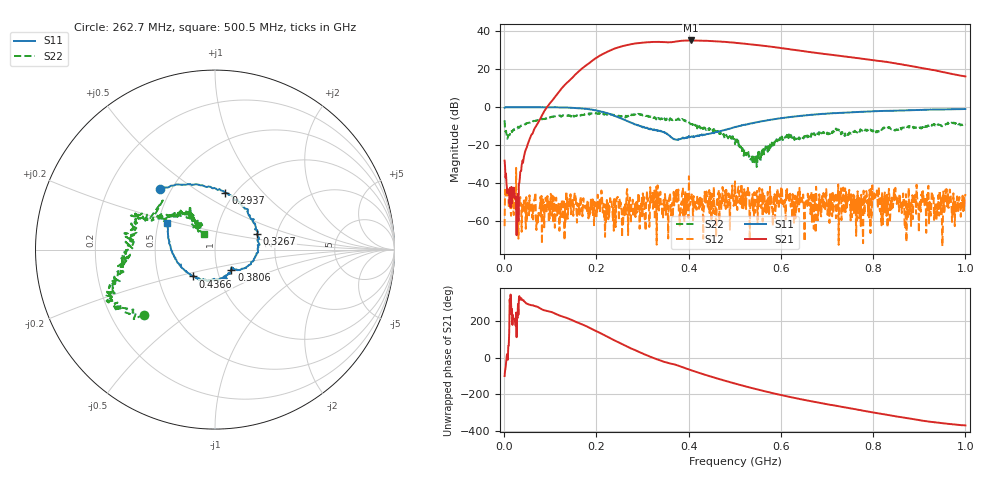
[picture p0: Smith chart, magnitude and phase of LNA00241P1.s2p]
! Created with skrf 1.9.0 (http://scikit-rf.org).
# Hz S RI R 50.0
!freq ReS11 ImS11 ReS21 ImS21 ReS12 ImS12 ReS22 ImS22
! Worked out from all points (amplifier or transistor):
!   1001 points, 1 MHz to 1 GHz, reference 50 ohm
!   highest |S21| = 35.0 dB at 404.6 MHz (marker M1)
!   |S21| within 3 dB of that: 256.3 MHz to 568.7 MHz (312.4 MHz wide, 75.7 % of centre)
!   unconditionally stable (mu >= 1): start of sweep to 89.64 MHz; 266.8 MHz to 400.4 MHz; 400.9 MHz to end of sweep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
!   at 166.8 MHz: K = 2.31, MAG = 29.8 dB, |S12| = -52.6 dB
!   at 500.5 MHz: K = 1.06, MAG = 34.9 dB, |S12| = -38.9 dB
!   at 1 GHz: K = 2.51, MAG = 24.0 dB, |S12| = -45.6 dB
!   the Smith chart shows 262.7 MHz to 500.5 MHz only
!   S11 on the Smith chart (normalised r, x): 262.7 MHz: 0.43, +0.37; 293.7 MHz: 0.91, +0.64; 326.7 MHz: 1.58, +0.29; 380.6 MHz: 1.17, -0.27; 436.6 MHz: 0.75, -0.23; 500.5 MHz: 0.56, +0.18
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1000000  0.9659 -0.00127  -0.00711 -0.0389  -5.82e-05 0.000751  0.3523 0.2864
1.08892e8  0.5084 -0.8506  -0.8237 -1.559  -0.00255 0.000646  0.4342 -0.3704
1.67833e8  -0.2579 -0.8887  -10.13 -0.5226  -0.00081 -0.0017  0.0427 -0.6308
1.97803e8  -0.6158 -0.5539  -15.87 10.41  0.00295 -0.00117  -0.1629 -0.6708
2.16784e8  -0.6949 -0.2347  -14.32 21.61  0.00128 -0.000327  -0.2018 -0.6002
2.42758e8  -0.5474 0.1732  0.2147 35.52  -0.00291 0.000135  -0.2969 -0.497
2.62738e8  -0.3058 0.3398  17.57 37.75  -0.00308 0.000715  -0.3943 -0.3616
2.93707e8  0.0578 0.3156  41.95 24.07  0.000509 -0.000397  -0.5814 -0.2597
3.26674e8  0.2339 0.0851  51.45 -3.933  -0.000503 0.000996  -0.5406 -0.0926
3.34666e8  0.2424 0.0142  50.52 -10.83  0.00143 0.00477  -0.4968 -0.0637
3.8062e8  0.0914 -0.1114  37.78 -39.7  -0.000255 0.000737  -0.4255 0.1708
4.04596e8  0.0227 -0.1653  21.07 -52.36  0.00205 0.00386  -0.3092 0.1791
4.36564e8  -0.1233 -0.1494  -4.118 -55.15  0.00143 0.00278  -0.1772 0.1953
4.69531e8  -0.2362 -0.022  -25.62 -45.93  0.00182 0.000929  -0.1341 0.1644
5.005e8  -0.2664 0.1479  -38.57 -30.73  0.0111 0.00186  -0.0619 0.0871
5.4046e8  -0.1818 0.3405  -42.78 -9.073  0.00347 0.000177  -0.0491 0.0296
5.88412e8  0.0242 0.489  -35.62 11.19  0.00189 0.001  -0.0932 -0.0698
6.67333e8  0.4007 0.4857  -14.12 23.44  -0.000415 -0.000878  -0.1799 -0.0248
7.53247e8  0.6794 0.2779  2.801 20.09  -5.78e-05 -0.00217  -0.2037 0.00954
8.34166e8  0.7988 0.0147  10.38 10.92  -0.00363 -0.00621  -0.2798 -0.022
9.16084e8  0.8145 -0.2733  9.862 2.216  -0.00195 -0.00259  -0.29 0.1166
1e9  0.7267 -0.5226  6.324 -1.114  -0.00511 -0.00126  -0.2924 0.1943
